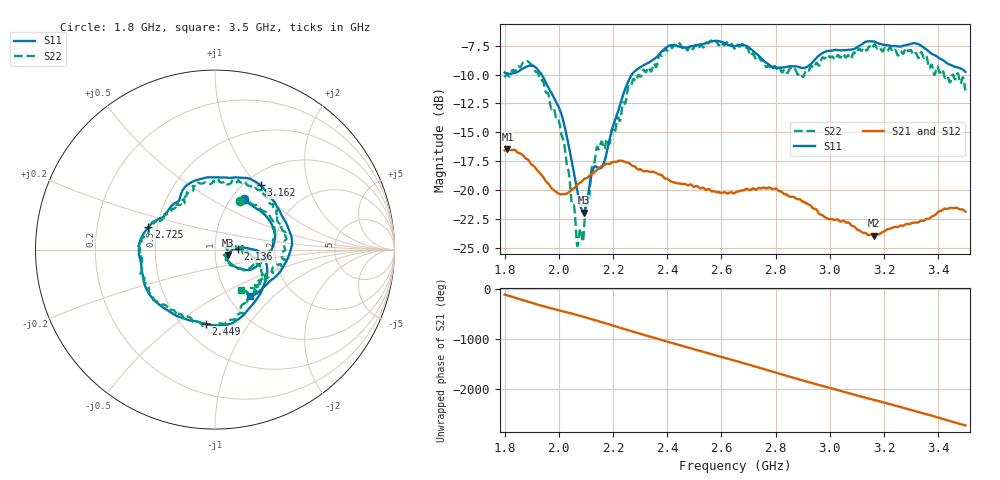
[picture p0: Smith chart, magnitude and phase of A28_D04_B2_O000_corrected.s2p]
! Created with skrf 1.9.0 (http://scikit-rf.org).
# Hz S RI R 50.0
!freq ReS11 ImS11 ReS21 ImS21 ReS12 ImS12 ReS22 ImS22
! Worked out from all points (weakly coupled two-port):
!   1601 points, 1.8 GHz to 3.5 GHz, reference 50 ohm
!   highest |S21| = -16.47 dB at 1.811 GHz (marker M1); lowest = -23.9 dB at 3.161 GHz (marker M2)
!   lowest |S11| = -21.9 dB at 2.091 GHz (marker M3), VSWR 1.17, Z = 57.9 - j3.42 ohm
!   |S11| at or under -10 dB: 1.936 GHz to 2.269 GHz (333 MHz wide, 15.8 % of centre)
!   |S22| runs from -24.8 to -7.0 dB; largest |S21 - S12| = 0.0024
!   S11 on the Smith chart (normalised r, x): 1.8 GHz: 1.15, +0.72; 2.136 GHz: 1.29, +0.01; 2.449 GHz: 0.65, -0.65; 2.725 GHz: 0.45, +0.13; 3.162 GHz: 1.18, +1.05; 3.5 GHz: 1.26, -0.73
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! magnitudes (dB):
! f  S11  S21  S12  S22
! 1.8 GHz  -9.8  -16.6  -16.6  -10.2
! 1.811 GHz  -9.9  -16.5  -16.5  -10.0
! 1.884 GHz  -9.3  -17.3  -17.4  -8.9
! 1.941 GHz  -10.2  -18.8  -18.8  -10.5
! 2.011 GHz  -13.6  -20.4  -20.3  -15.4
! 2.067 GHz  -19.9  -19.6  -19.6  -24.6
! 2.084 GHz  -21.7  -19.3  -19.2  -23.8
! 2.091 GHz  -21.9  -19.1  -19.1  -24.1
! 2.136 GHz  -17.9  -18.3  -18.3  -16.8
! 2.166 GHz  -17.7  -17.9  -17.8  -16.4
! 2.264 GHz  -10.2  -17.8  -17.8  -11.1
! 2.367 GHz  -8.3  -18.6  -18.6  -8.5
! 2.449 GHz  -7.6  -19.5  -19.4  -7.4
! 2.65 GHz  -7.5  -20.2  -20.2  -7.7
! 2.725 GHz  -8.1  -20.0  -19.9  -8.6
! 2.796 GHz  -9.4  -19.9  -19.8  -9.3
! 2.934 GHz  -9.0  -21.5  -21.4  -9.2
! 3.161 GHz  -7.1  -23.9  -23.9  -7.5
! 3.162 GHz  -7.1  -23.9  -23.9  -7.5
! 3.217 GHz  -7.5  -23.4  -23.3  -7.8
! 3.324 GHz  -7.3  -22.8  -22.8  -8.5
! 3.5 GHz  -9.8  -21.9  -21.8  -11.4
